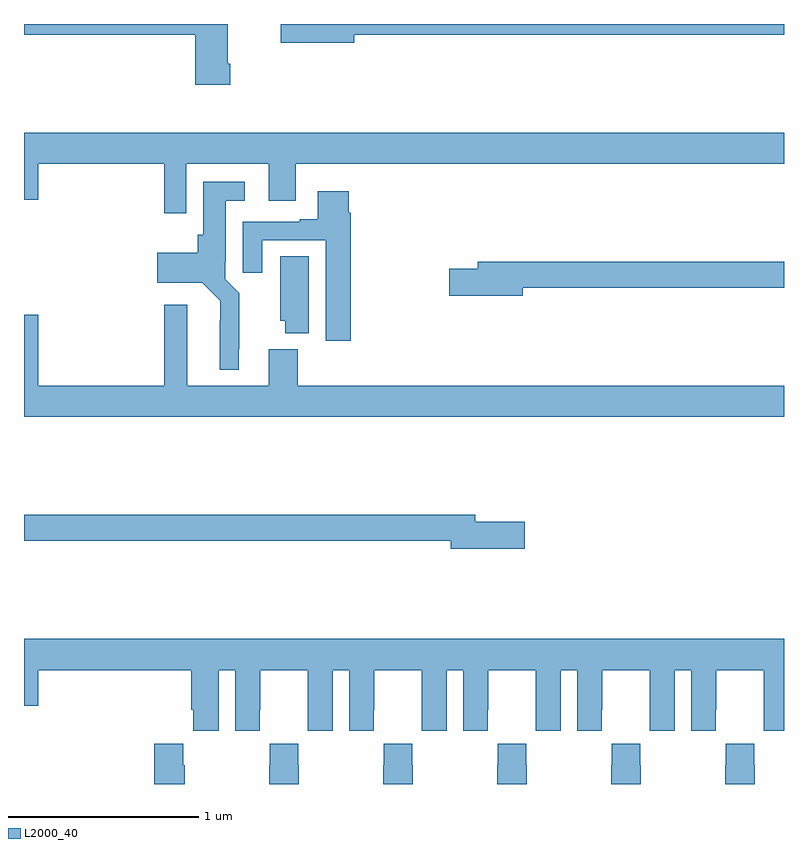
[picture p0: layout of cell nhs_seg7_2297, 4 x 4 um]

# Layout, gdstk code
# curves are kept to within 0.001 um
import gdstk
lib = gdstk.Library(unit=1e-6, precision=1e-09)
def P(c, l, *ps):  # polygons
    for p in ps: c.add(gdstk.Polygon(p, *l))
L2000_40 = (2000, 40)

nhs_seg7_2297 = lib.new_cell('nhs_seg7_2297')
P(nhs_seg7_2297, L2000_40, [(262.085,1019.791),(262.072,1019.791),(262.072,1020),(261,1020),(261,1019.944),(261.902,1019.944),(261.902,1019.679),(262.085,1019.679)],
  [(262.738,1019.944),(265,1019.944),(265,1020),(262.35,1020),(262.35,1019.902),(262.738,1019.902)],
  [(261.855,1019.264),(262.289,1019.264),(262.289,1019.07),(262.429,1019.07),(262.429,1019.264),(265,1019.264),(265,1019.428),(261,1019.428),(261,1019.076),(261.076,1019.076),(261.076,1019.264),(261.739,1019.264),(261.739,1019.004),(261.855,1019.004)],
  [(262.129,1018.291),(262.133,1018.291),(262.133,1018.582),(262.059,1018.656),(262.059,1018.75),(262.063,1018.75),(262.063,1019.069),(262.162,1019.069),(262.162,1019.17),(261.944,1019.17),(261.944,1018.89),(261.914,1018.89),(261.914,1018.795),(261.702,1018.795),(261.702,1018.637),(261.939,1018.637),(262.032,1018.544),(262.031,1018.181),(262.129,1018.181)],
  [(262.721,1019.006),(262.708,1019.006),(262.708,1019.119),(262.547,1019.119),(262.547,1018.972),(262.451,1018.972),(262.451,1018.959),(262.151,1018.959),(262.151,1018.692),(262.255,1018.692),(262.255,1018.863),(262.589,1018.863),(262.589,1018.332),(262.721,1018.332)],
  [(262.498,1018.778),(262.349,1018.778),(262.349,1018.437),(262.376,1018.437),(262.376,1018.373),(262.498,1018.373)],
  [(263.626,1018.612),(265,1018.612),(265,1018.748),(263.387,1018.748),(263.387,1018.712),(263.238,1018.712),(263.238,1018.57),(263.626,1018.57)],
  [(265,1018.096),(262.442,1018.096),(262.442,1018.288),(262.289,1018.288),(262.289,1018.096),(261.859,1018.096),(261.859,1018.522),(261.737,1018.522),(261.737,1018.096),(261.076,1018.096),(261.076,1018.471),(261,1018.471),(261,1017.932),(265,1017.932)],
  [(263.635,1017.38),(263.374,1017.38),(263.374,1017.416),(261,1017.416),(261,1017.28),(263.246,1017.28),(263.246,1017.238),(263.635,1017.238)],
  [(262.024,1016.6),(262.112,1016.6),(262.112,1016.28),(262.242,1016.28),(262.242,1016.392),(262.243,1016.392),(262.243,1016.6),(262.493,1016.6),(262.493,1016.392),(262.494,1016.392),(262.494,1016.28),(262.624,1016.28),(262.624,1016.6),(262.712,1016.6),(262.712,1016.28),(262.842,1016.28),(262.842,1016.392),(262.843,1016.392),(262.843,1016.6),(263.093,1016.6),(263.093,1016.392),(263.094,1016.392),(263.094,1016.28),(263.224,1016.28),(263.224,1016.6),(263.312,1016.6),(263.312,1016.28),(263.442,1016.28),(263.442,1016.392),(263.443,1016.392),(263.443,1016.6),(263.693,1016.6),(263.693,1016.392),(263.694,1016.392),(263.694,1016.28),(263.824,1016.28),(263.824,1016.6),(263.912,1016.6),(263.912,1016.28),(264.042,1016.28),(264.042,1016.392),(264.043,1016.392),(264.043,1016.6),(264.293,1016.6),(264.293,1016.392),(264.294,1016.392),(264.294,1016.28),(264.424,1016.28),(264.424,1016.6),(264.512,1016.6),(264.512,1016.28),(264.642,1016.28),(264.642,1016.392),(264.643,1016.392),(264.643,1016.6),(264.893,1016.6),(264.893,1016.392),(264.894,1016.392),(264.894,1016.28),(265,1016.28),(265,1016.764),(261,1016.764),(261,1016.412),(261.076,1016.412),(261.076,1016.6),(261.881,1016.6),(261.881,1016.392),(261.89,1016.392),(261.89,1016.28),(262.024,1016.28)],
  [(264.246,1016.099),(264.243,1016.099),(264.243,1016.212),(264.093,1016.212),(264.093,1016.099),(264.091,1016.099),(264.091,1016),(264.246,1016)],
  [(264.846,1016.099),(264.843,1016.099),(264.843,1016.212),(264.693,1016.212),(264.693,1016.099),(264.691,1016.099),(264.691,1016),(264.846,1016)],
  [(263.646,1016.099),(263.643,1016.099),(263.643,1016.212),(263.493,1016.212),(263.493,1016.099),(263.491,1016.099),(263.491,1016),(263.646,1016)],
  [(263.046,1016.099),(263.043,1016.099),(263.043,1016.212),(262.893,1016.212),(262.893,1016.099),(262.891,1016.099),(262.891,1016),(263.046,1016)],
  [(262.446,1016.099),(262.443,1016.099),(262.443,1016.212),(262.293,1016.212),(262.293,1016.099),(262.291,1016.099),(262.291,1016),(262.446,1016)],
  [(261.846,1016.099),(261.839,1016.099),(261.839,1016.212),(261.686,1016.212),(261.686,1016),(261.846,1016)])

lib.write_gds('nhs_seg7_2297.gds')
